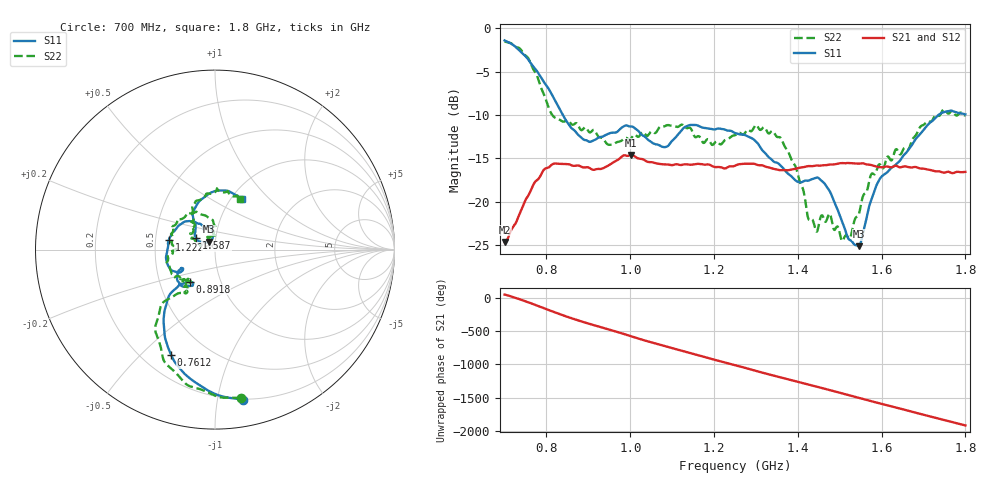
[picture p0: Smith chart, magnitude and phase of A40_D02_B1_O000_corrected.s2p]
! Created with skrf 1.9.0 (http://scikit-rf.org).
# Hz S RI R 50.0
!freq ReS11 ImS11 ReS21 ImS21 ReS12 ImS12 ReS22 ImS22
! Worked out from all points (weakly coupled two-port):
!   1601 points, 700 MHz to 1.8 GHz, reference 50 ohm
!   highest |S21| = -14.61 dB at 1.002 GHz (marker M1); lowest = -24.6 dB at 700.7 MHz (marker M2)
!   lowest |S11| = -25.1 dB at 1.545 GHz (marker M3), VSWR 1.12, Z = 46.5 + j4.05 ohm
!   |S11| at or under -10 dB: 839.1 MHz to 1.735 GHz (896.2 MHz wide, 69.6 % of centre)
!   |S22| runs from -24.5 to -1.5 dB; largest |S21 - S12| = 0.0035
!   S11 on the Smith chart (normalised r, x): 700 MHz: 0.20, -1.19; 761.2 MHz: 0.32, -0.62; 891.8 MHz: 0.71, -0.27; 1.222 GHz: 0.59, +0.07; 1.587 GHz: 0.80, +0.10; 1.8 GHz: 1.12, +0.70
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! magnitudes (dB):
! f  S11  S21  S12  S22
! 700 MHz  -1.4  -24.6  -24.4  -1.5
! 700.7 MHz  -1.4  -24.6  -24.3  -1.5
! 761.2 MHz  -3.9  -18.8  -18.7  -3.9
! 814.8 MHz  -7.8  -15.7  -15.7  -10.1
! 883.6 MHz  -12.6  -16.0  -15.9  -11.7
! 891.8 MHz  -12.9  -16.0  -16.1  -11.4
! 949.6 MHz  -12.1  -15.8  -15.8  -13.4
! 1.002 GHz  -11.3  -14.6  -14.7  -12.7
! 1.067 GHz  -13.4  -15.6  -15.6  -11.6
! 1.141 GHz  -11.2  -15.7  -15.7  -11.5
! 1.222 GHz  -11.6  -16.1  -16.1  -13.1
! 1.25 GHz  -12.1  -15.8  -15.8  -12.3
! 1.3 GHz  -13.1  -15.7  -15.7  -11.2
! 1.359 GHz  -15.8  -16.4  -16.3  -12.6
! 1.434 GHz  -17.4  -15.9  -15.9  -22.0
! 1.476 GHz  -18.7  -15.7  -15.7  -21.4
! 1.508 GHz  -22.5  -15.5  -15.5  -24.4
! 1.545 GHz  -25.1  -15.6  -15.6  -21.5
! 1.587 GHz  -18.2  -15.9  -15.9  -16.5
! 1.617 GHz  -16.4  -16.0  -15.9  -14.9
! 1.737 GHz  -9.9  -16.5  -16.5  -10.1
! 1.8 GHz  -9.9  -16.5  -16.5  -10.1
